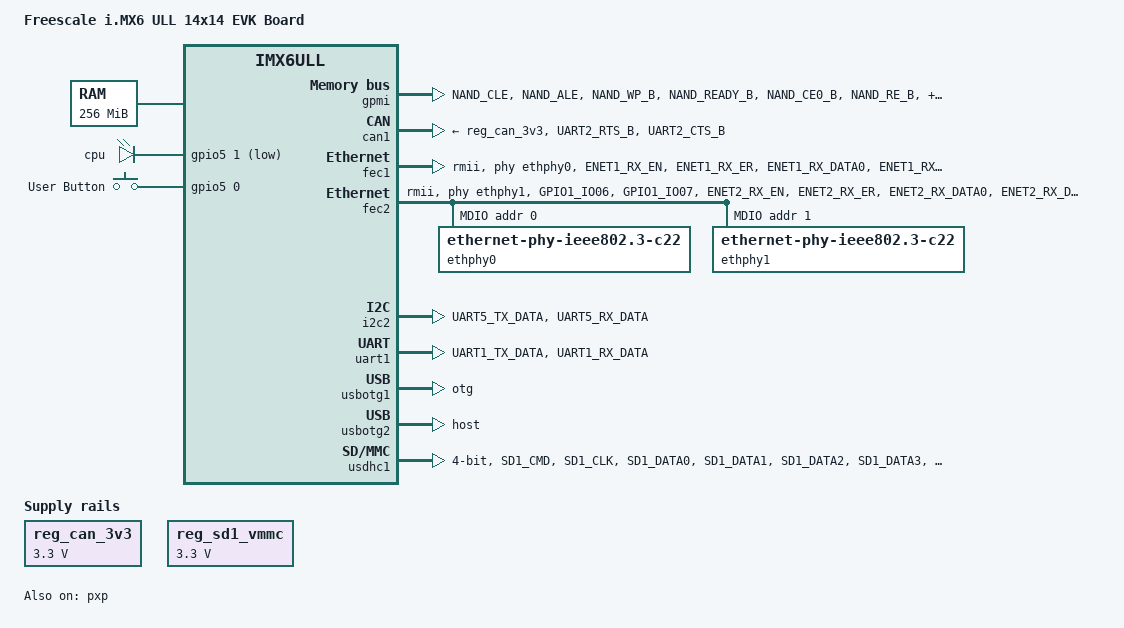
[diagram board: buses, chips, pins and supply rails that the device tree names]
/*
 * Copyright (C) 2016 Freescale Semiconductor, Inc.
 *
 * This program is free software; you can redistribute it and/or modify
 * it under the terms of the GNU General Public License version 2 as
 * published by the Free Software Foundation.
 */

/dts-v1/;

#include <dt-bindings/input/input.h>
#include "imx6ull.dtsi"

/ {
	model = "Freescale i.MX6 ULL 14x14 EVK Board";
	compatible = "fsl,imx6ull-14x14-evk", "fsl,imx6ull";

	chosen {
		stdout-path = &uart1;
	};

	memory {
		reg = <0x80000000 0x10000000>;
	};

	reserved-memory {
		#address-cells = <1>;
		#size-cells = <1>;
		ranges;

		linux,cma {
			compatible = "shared-dma-pool";
			reusable;
			size = <0x14000000>;
			linux,cma-default;
		};
	};

#if 0
	reg_brcm: regulator-brcm {
		compatible = "regulator-fixed";
		enable-active-high;
		gpio = <&gpio4 28 GPIO_ACTIVE_HIGH>;
		pinctrl-names = "default";
		pinctrl-0 = <&pinctrl_brcm_reg>;
		regulator-name = "brcm_reg";
		regulator-min-microvolt = <3300000>;
		regulator-max-microvolt = <3300000>;
		startup-delay-us = <200000>;
	};
#endif
#if 0
    //WiFi REG ON Gpio

	usdhc2_pwrseq: usdhc2_pwrseq {
		compatible = "mmc-pwrseq-simple";
		reset-gpios = <&gpio4 28 GPIO_ACTIVE_LOW>; 	/* WL_REG_ON */
                      //<&gpio4 14 GPIO_ACTIVE_LOW>, 	// WL_Wake Host
                      //<&gpio4 16 GPIO_ACTIVE_LOW>, 	// BT_REG_ON
                      //<&gpio4 26 GPIO_ACTIVE_LOW>,	// Host Wake BT
                      //<&gpio4 27 GPIO_ACTIVE_LOW>, 	// BT WAKE Host
                      //<&gpio4 6 GPIO_ACTIVE_LOW>; 	// BT_RST_N

        pinctrl-names = "default";
        pinctrl-0 = <&pinctrl_wifi>; //ToDo: Pullup check !
	};
	backlight {
		compatible = "pwm-backlight";
		pwms = <&pwm1 0 5000000>;
		brightness-levels = <0 4 8 16 32 64 128 255>;
		default-brightness-level = <6>;
		status = "disabled";
	};
#endif

	pxp_v4l2 {
		compatible = "fsl,imx6ul-pxp-v4l2", "fsl,imx6sx-pxp-v4l2", "fsl,imx6sl-pxp-v4l2";
		status = "okay";
	};

	regulators {
		compatible = "simple-bus";
		#address-cells = <1>;
		#size-cells = <0>;

		reg_can_3v3: regulator@0 {
			compatible = "regulator-fixed";
			reg = <0>;
			regulator-name = "can-3v3";
			regulator-min-microvolt = <3300000>;
			regulator-max-microvolt = <3300000>;
		};

		reg_sd1_vmmc: regulator@1 {
			compatible = "regulator-fixed";
			regulator-name = "VSD_3V3";
			regulator-min-microvolt = <3300000>;
			regulator-max-microvolt = <3300000>;
			//gpio = <&gpio1 9 GPIO_ACTIVE_HIGH>;
			enable-active-high;
		};

	};

	leds {
		compatible = "gpio-leds";
		pinctrl-names = "default";
		pinctrl-0 = <&pinctrl_leds>;

		led0: cpu {
			label = "cpu";
			gpios = <&gpio5 1 GPIO_ACTIVE_LOW>;
			default-state = "on";
			linux,default-trigger = "heartbeat";
		};
	};

	gpio-keys {
		compatible = "gpio-keys";
		pinctrl-names = "default";
		pinctrl-0 = <&pinctrl_gpio_key>;

		user {
			label = "User Button";
			gpios = <&gpio5 0 GPIO_ACTIVE_HIGH>;
			gpio-key,wakeup;
			linux,code = <KEY_1>;
		};
	};
};

&gpmi{
    status = "disabled";
};
&cpu0 {
	arm-supply = <&reg_arm>;
	soc-supply = <&reg_soc>;
	/*dc-supply = <&reg_gpio_dvfs>;*/
};

&clks {
	assigned-clocks = <&clks IMX6UL_CLK_PLL4_AUDIO_DIV>;
	assigned-clock-rates = <786432000>;
};

//&flexcan1 {
&can1 {
	pinctrl-names = "default";
	pinctrl-0 = <&pinctrl_flexcan1>;
	xceiver-supply = <&reg_can_3v3>;
	status = "okay";
};


&fec1 {
    pinctrl-names = "default";
    pinctrl-0 = <&pinctrl_enet1>;
    phy-mode = "rmii";
    phy-handle = <&ethphy0>;
    phy-reset-gpios = <&gpio5 9 GPIO_ACTIVE_LOW>;
    phy-reset-duration = <26>;
    status = "okay";
};

&fec2 {
    pinctrl-names = "default";
    pinctrl-0 = <&pinctrl_enet2>;
    phy-mode = "rmii";
    phy-handle = <&ethphy1>;
    phy-reset-gpios = <&gpio5 6 GPIO_ACTIVE_LOW>;
    phy-reset-duration = <26>;
    status = "okay";

    mdio {
        #address-cells = <1>;
        #size-cells = <0>;

        ethphy0: ethernet-phy@0 {
            compatible = "ethernet-phy-ieee802.3-c22";
            smsc,disable-energy-detect;
            reg = <0>;
            //max-speed = <50>;

        };
        ethphy1: ethernet-phy@1 {
            compatible = "ethernet-phy-ieee802.3-c22";
            smsc,disable-energy-detect;
            //max-speed = <50>;
            reg = <1>;
        };
    };
};

&gpc {
	fsl,cpu_pupscr_sw2iso = <0x1>;
	fsl,cpu_pupscr_sw = <0x0>;
	fsl,cpu_pdnscr_iso2sw = <0x1>;
	fsl,cpu_pdnscr_iso = <0x1>;
	fsl,ldo-bypass = <0>; /* DCDC, ldo-enable */
};

&i2c2 {
	clock_frequency = <100000>;
	pinctrl-names = "default";
	pinctrl-0 = <&pinctrl_i2c2>;
	status = "okay";

};

&iomuxc {
	pinctrl-names = "default";
	pinctrl-0 = <&pinctrl_hog_1>;
	imx6ul-evk {
        pinctrl_hog_2: hoggrp-2 {
            fsl,pins = <
                MX6ULL_PAD_SNVS_TAMPER6__GPIO5_IO06	0x1b0b0
            >;
        };

        pinctrl_uart6: uart6grp {
            fsl,pins = <
                MX6UL_PAD_CSI_MCLK__UART6_DCE_TX      0x1b0b1
                MX6UL_PAD_CSI_PIXCLK__UART6_DCE_RX    0x1b0b1
            >;
        };
		pinctrl_gpio_key: keygrp {
			fsl,pins = <
				MX6UL_PAD_SNVS_TAMPER0__GPIO5_IO00	0x1b0b0
			>;
		};
		pinctrl_leds: ledgrp {
			fsl,pins = <
				MX6UL_PAD_SNVS_TAMPER1__GPIO5_IO01	0x1b0b0
			>;
		};
        //For AP6212 from MYC HMI
		pinctrl_usdhc2_alt: usdhc2grp_alt {
			fsl,pins = <
				MX6UL_PAD_LCD_DATA18__USDHC2_CMD    0x17051
                //Ref imx6ul-pico-hobbit.dts
				//MX6UL_PAD_LCD_DATA19__USDHC2_CLK    0x10059
				MX6UL_PAD_LCD_DATA19__USDHC2_CLK    0x17051
				MX6UL_PAD_LCD_DATA20__USDHC2_DATA0  0x17051
				MX6UL_PAD_LCD_DATA21__USDHC2_DATA1  0x17051
				MX6UL_PAD_LCD_DATA22__USDHC2_DATA2  0x17051
				MX6UL_PAD_LCD_DATA23__USDHC2_DATA3  0x17051
			>;
		};

		pinctrl_hog_1: hoggrp-1 {
			fsl,pins = <
				MX6UL_PAD_UART1_RTS_B__GPIO1_IO19	0x17059 /* SD1 CD */
			//	MX6UL_PAD_GPIO1_IO05__USDHC1_VSELECT	0x17059 /* SD1 VSELECT */
				MX6UL_PAD_GPIO1_IO00__ANATOP_OTG1_ID	0x17059 /* USB OTG1 ID */

				MX6UL_PAD_SNVS_TAMPER9__GPIO5_IO09	0x1b0b0 /* enet1 reset */
				MX6UL_PAD_SNVS_TAMPER6__GPIO5_IO06	0x1b0b0 /* enet2 reset */
			>;
		};
		pinctrl_gpmi_nand_1: gpmi-nand-1 {
			fsl,pins = <
				MX6UL_PAD_NAND_CLE__RAWNAND_CLE         0xb0b1
				MX6UL_PAD_NAND_ALE__RAWNAND_ALE         0xb0b1
				MX6UL_PAD_NAND_WP_B__RAWNAND_WP_B       0xb0b1
				MX6UL_PAD_NAND_READY_B__RAWNAND_READY_B 0xb000
				MX6UL_PAD_NAND_CE0_B__RAWNAND_CE0_B     0xb0b1
				MX6UL_PAD_NAND_RE_B__RAWNAND_RE_B       0xb0b1
				MX6UL_PAD_NAND_WE_B__RAWNAND_WE_B       0xb0b1
				MX6UL_PAD_NAND_DATA00__RAWNAND_DATA00   0xb0b1
				MX6UL_PAD_NAND_DATA01__RAWNAND_DATA01   0xb0b1
				MX6UL_PAD_NAND_DATA02__RAWNAND_DATA02   0xb0b1
				MX6UL_PAD_NAND_DATA03__RAWNAND_DATA03   0xb0b1
				MX6UL_PAD_NAND_DATA04__RAWNAND_DATA04   0xb0b1
				MX6UL_PAD_NAND_DATA05__RAWNAND_DATA05   0xb0b1
				MX6UL_PAD_NAND_DATA06__RAWNAND_DATA06   0xb0b1
				MX6UL_PAD_NAND_DATA07__RAWNAND_DATA07   0xb0b1
			>;
		};

        pinctrl_enet1: enet1grp {
            fsl,pins = <
                //MX6UL_PAD_GPIO1_IO06__ENET1_MDIO	0x1b0b0
                //MX6UL_PAD_GPIO1_IO07__ENET1_MDC		0x1b0b0
                MX6UL_PAD_ENET1_RX_EN__ENET1_RX_EN  0x1b0b0
                MX6UL_PAD_ENET1_RX_ER__ENET1_RX_ER  0x1b0b0
                MX6UL_PAD_ENET1_RX_DATA0__ENET1_RDATA00 0x1b0b0
                MX6UL_PAD_ENET1_RX_DATA1__ENET1_RDATA01 0x1b0b0
                MX6UL_PAD_ENET1_TX_EN__ENET1_TX_EN  0x1b0b0
                MX6UL_PAD_ENET1_TX_DATA0__ENET1_TDATA00 0x1b0b0
                MX6UL_PAD_ENET1_TX_DATA1__ENET1_TDATA01 0x1b0b0
                MX6UL_PAD_ENET1_TX_CLK__ENET1_REF_CLK1  0x4001b031
            >;
        };

        pinctrl_enet2: enet2grp {
            fsl,pins = <
                MX6UL_PAD_GPIO1_IO06__ENET2_MDIO    0x1b0b0
                MX6UL_PAD_GPIO1_IO07__ENET2_MDC     0x1b0b0
                MX6UL_PAD_ENET2_RX_EN__ENET2_RX_EN  0x1b0b0
                MX6UL_PAD_ENET2_RX_ER__ENET2_RX_ER  0x1b0b0
                MX6UL_PAD_ENET2_RX_DATA0__ENET2_RDATA00 0x1b0b0
                MX6UL_PAD_ENET2_RX_DATA1__ENET2_RDATA01 0x1b0b0
                MX6UL_PAD_ENET2_TX_EN__ENET2_TX_EN  0x1b0b0
                MX6UL_PAD_ENET2_TX_DATA0__ENET2_TDATA00 0x1b0b0
                MX6UL_PAD_ENET2_TX_DATA1__ENET2_TDATA01 0x1b0b0
                MX6UL_PAD_ENET2_TX_CLK__ENET2_REF_CLK2  0x4001b031
            >;
        };

        /*
		pinctrl_enet1: enet1grp {
			fsl,pins = <
				MX6UL_PAD_GPIO1_IO06__ENET1_MDIO	0x1b0b0
				MX6UL_PAD_GPIO1_IO07__ENET1_MDC		0x1b0b0
				MX6UL_PAD_ENET1_RX_EN__ENET1_RX_EN	0x1b0b0
				MX6UL_PAD_ENET1_RX_ER__ENET1_RX_ER	0x1b0b0
				MX6UL_PAD_ENET1_RX_DATA0__ENET1_RDATA00	0x1b0b0
				MX6UL_PAD_ENET1_RX_DATA1__ENET1_RDATA01	0x1b0b0
				MX6UL_PAD_ENET1_TX_EN__ENET1_TX_EN	0x1b0b0
				MX6UL_PAD_ENET1_TX_DATA0__ENET1_TDATA00	0x1b0b0
				MX6UL_PAD_ENET1_TX_DATA1__ENET1_TDATA01	0x1b0b0
				MX6UL_PAD_ENET1_TX_CLK__ENET1_REF_CLK1	0x4001b031
			>;
		};

		pinctrl_enet2: enet2grp {
			fsl,pins = <
				MX6UL_PAD_GPIO1_IO06__ENET2_MDIO	0x1b0b0
				MX6UL_PAD_GPIO1_IO07__ENET2_MDC		0x1b0b0
				MX6UL_PAD_ENET2_RX_EN__ENET2_RX_EN	0x1b0b0
				MX6UL_PAD_ENET2_RX_ER__ENET2_RX_ER	0x1b0b0
				MX6UL_PAD_ENET2_RX_DATA0__ENET2_RDATA00	0x1b0b0
				MX6UL_PAD_ENET2_RX_DATA1__ENET2_RDATA01	0x1b0b0
				MX6UL_PAD_ENET2_TX_EN__ENET2_TX_EN	0x1b0b0
				MX6UL_PAD_ENET2_TX_DATA0__ENET2_TDATA00	0x1b0b0
				MX6UL_PAD_ENET2_TX_DATA1__ENET2_TDATA01	0x1b0b0
				MX6UL_PAD_ENET2_TX_CLK__ENET2_REF_CLK2	0x4001b031
			>;
		};
        */
		pinctrl_flexcan1: flexcan1grp{
			fsl,pins = <
				MX6UL_PAD_UART2_RTS_B__FLEXCAN2_RX	0x1b020
				MX6UL_PAD_UART2_CTS_B__FLEXCAN2_TX	0x1b020
			>;
		};

		pinctrl_flexcan2: flexcan2grp{
			fsl,pins = <
				MX6UL_PAD_UART2_RTS_B__FLEXCAN2_RX	0x1b020
				MX6UL_PAD_UART2_CTS_B__FLEXCAN2_TX	0x1b020
			>;
		};

		pinctrl_i2c2: i2c2grp {
			fsl,pins = <
				MX6UL_PAD_UART5_TX_DATA__I2C2_SCL 0x4001b8b0
				MX6UL_PAD_UART5_RX_DATA__I2C2_SDA 0x4001b8b0
			>;
		};

		pinctrl_lcdif_dat: lcdifdatgrp {
			fsl,pins = <
				MX6UL_PAD_LCD_DATA00__LCDIF_DATA00  0x79
				MX6UL_PAD_LCD_DATA01__LCDIF_DATA01  0x79
				MX6UL_PAD_LCD_DATA02__LCDIF_DATA02  0x79
				MX6UL_PAD_LCD_DATA03__LCDIF_DATA03  0x79
				MX6UL_PAD_LCD_DATA04__LCDIF_DATA04  0x79
				MX6UL_PAD_LCD_DATA05__LCDIF_DATA05  0x79
				MX6UL_PAD_LCD_DATA06__LCDIF_DATA06  0x79
				MX6UL_PAD_LCD_DATA07__LCDIF_DATA07  0x79
				MX6UL_PAD_LCD_DATA08__LCDIF_DATA08  0x79
				MX6UL_PAD_LCD_DATA09__LCDIF_DATA09  0x79
				MX6UL_PAD_LCD_DATA10__LCDIF_DATA10  0x79
				MX6UL_PAD_LCD_DATA11__LCDIF_DATA11  0x79
				MX6UL_PAD_LCD_DATA12__LCDIF_DATA12  0x79
				MX6UL_PAD_LCD_DATA13__LCDIF_DATA13  0x79
				MX6UL_PAD_LCD_DATA14__LCDIF_DATA14  0x79
				MX6UL_PAD_LCD_DATA15__LCDIF_DATA15  0x79
			>;
		};

		pinctrl_lcdif_ctrl: lcdifctrlgrp {
			fsl,pins = <
				MX6UL_PAD_LCD_CLK__LCDIF_CLK	    0x79
				MX6UL_PAD_LCD_ENABLE__LCDIF_ENABLE  0x79
				MX6UL_PAD_LCD_HSYNC__LCDIF_HSYNC    0x79
				MX6UL_PAD_LCD_VSYNC__LCDIF_VSYNC    0x79
			>;
		};

		pinctrl_pwm1: pwm1grp {
			fsl,pins = <
				MX6UL_PAD_GPIO1_IO08__PWM1_OUT   0x110b0
			>;
		};

        //PWM6:PWM1
		pinctrl_pwm6: pwm6grp {
			fsl,pins = <
                MX6UL_PAD_JTAG_TCK__PWM7_OUT 0x110b0
			>;
		};
        //PWM2
		pinctrl_pwm7: pwm7grp {
			fsl,pins = <
                MX6UL_PAD_JTAG_TDI__PWM6_OUT 0x110b0
			>;
		};

		pinctrl_qspi: qspigrp {
			fsl,pins = <
				MX6UL_PAD_NAND_WP_B__QSPI_A_SCLK      0x70a1
				MX6UL_PAD_NAND_READY_B__QSPI_A_DATA00 0x70a1
				MX6UL_PAD_NAND_CE0_B__QSPI_A_DATA01   0x70a1
				MX6UL_PAD_NAND_CE1_B__QSPI_A_DATA02   0x70a1
				MX6UL_PAD_NAND_CLE__QSPI_A_DATA03     0x70a1
				MX6UL_PAD_NAND_DQS__QSPI_A_SS0_B      0x70a1
			>;
		};

		pinctrl_sai2: sai2grp {
			fsl,pins = <
				MX6UL_PAD_JTAG_TDI__SAI2_TX_BCLK	0x17088
				MX6UL_PAD_JTAG_TDO__SAI2_TX_SYNC	0x17088
				MX6UL_PAD_JTAG_TRST_B__SAI2_TX_DATA	0x11088
				MX6UL_PAD_JTAG_TCK__SAI2_RX_DATA	0x11088
				MX6UL_PAD_JTAG_TMS__SAI2_MCLK		0x17088
			>;
		};

		pinctrl_tsc: tscgrp {
			fsl,pins = <
				MX6UL_PAD_GPIO1_IO01__GPIO1_IO01	0xb0
				MX6UL_PAD_GPIO1_IO02__GPIO1_IO02	0xb0
				MX6UL_PAD_GPIO1_IO03__GPIO1_IO03	0xb0
				MX6UL_PAD_GPIO1_IO04__GPIO1_IO04	0xb0
			>;
		};

		pinctrl_uart1: uart1grp {
			fsl,pins = <
				MX6UL_PAD_UART1_TX_DATA__UART1_DCE_TX 0x1b0b1
				MX6UL_PAD_UART1_RX_DATA__UART1_DCE_RX 0x1b0b1
			>;
		};

		pinctrl_uart2: uart2grp {
			fsl,pins = <
				MX6UL_PAD_UART2_TX_DATA__UART2_DCE_TX	0x1b0b1
				MX6UL_PAD_UART2_RX_DATA__UART2_DCE_RX	0x1b0b1
                MX6UL_PAD_UART1_CTS_B__GPIO1_IO18 0x17059 //0x1b0b1
			>;
		};
        pinctrl_485_1_ctl: uart2_rs485_1 {
            fsl,pins = <
                // Ref: arch/arm/boot/dts/imx6ul-pinfunc.h
                //MX6ULL_PAD_SNVS_TAMPER0__GPIO5_IO00     0x1b0b0
                //MX6UL_PAD_UART1_CTS_B__UART1_DCE_CTS 0x1b0b0
                MX6UL_PAD_UART1_CTS_B__GPIO1_IO18 0x17059 //0x1b0b1
            >;
        };

        //For AP6212
		pinctrl_uart5dte: uart5dtegrp {
			fsl,pins = <
				//MX6UL_PAD_UART2_TX_DATA__UART2_DTE_RX	0x1b0b1
                MX6UL_PAD_CSI_DATA00__UART5_DCE_TX 0x1b0b1
				//MX6UL_PAD_UART2_RX_DATA__UART2_DTE_TX	0x1b0b1
                MX6UL_PAD_CSI_DATA01__UART5_DCE_RX 0x1b0b1
				//MX6UL_PAD_UART3_RX_DATA__UART2_DTE_CTS	0x1b0b1
                MX6UL_PAD_CSI_DATA03__UART5_DCE_CTS 0x1b0b1
				//MX6UL_PAD_UART3_TX_DATA__UART2_DTE_RTS	0x1b0b1
                MX6UL_PAD_CSI_DATA02__UART5_DCE_RTS 0x1b0b1
			>;
		};

		pinctrl_uart2dte: uart2dtegrp {
			fsl,pins = <
				MX6UL_PAD_UART2_TX_DATA__UART2_DTE_RX	0x1b0b1
				MX6UL_PAD_UART2_RX_DATA__UART2_DTE_TX	0x1b0b1
				MX6UL_PAD_UART3_RX_DATA__UART2_DTE_CTS	0x1b0b1
				MX6UL_PAD_UART3_TX_DATA__UART2_DTE_RTS	0x1b0b1
			>;
		};

        pinctrl_uart3: uart3grp {
            fsl,pins = <
                MX6UL_PAD_UART3_TX_DATA__UART3_DCE_TX   0x1b0b1
                MX6UL_PAD_UART3_RX_DATA__UART3_DCE_RX   0x1b0b1
                MX6UL_PAD_UART3_RTS_B__GPIO1_IO27 0x17059//0x1b0b1
            >;
        };

        pinctrl_485_2_ctl: uart3_rs485_2 {
            fsl,pins = <
                // Ref: arch/arm/boot/dts/imx6ul-pinfunc.h
                //MX6ULL_PAD_SNVS_TAMPER0__GPIO5_IO00     0x1b0b0
                //MX6UL_PAD_UART3_RTS_B__UART3_DCE_RTS 0x1b0b0
                MX6UL_PAD_UART3_RTS_B__GPIO1_IO27 0x17059//0x1b0b1
            >;
        };

        pinctrl_uart4: uart4grp {
            fsl,pins = <
                MX6UL_PAD_UART4_TX_DATA__UART4_DCE_TX   0x1b0b1
                MX6UL_PAD_UART4_RX_DATA__UART4_DCE_RX   0x1b0b1
            >;
        };

        pinctrl_uart7: uart7grp {
            fsl,pins = <
                MX6UL_PAD_LCD_DATA16__UART7_DCE_TX   0x1b0b1
                MX6UL_PAD_LCD_DATA17__UART7_DCE_RX   0x1b0b1
            >;
        };

		pinctrl_usdhc1: usdhc1grp {
			fsl,pins = <
				MX6UL_PAD_SD1_CMD__USDHC1_CMD     0x17059
				MX6UL_PAD_SD1_CLK__USDHC1_CLK     0x10071
				MX6UL_PAD_SD1_DATA0__USDHC1_DATA0 0x17059
				MX6UL_PAD_SD1_DATA1__USDHC1_DATA1 0x17059
				MX6UL_PAD_SD1_DATA2__USDHC1_DATA2 0x17059
				MX6UL_PAD_SD1_DATA3__USDHC1_DATA3 0x17059
			>;
		};

		pinctrl_usdhc1_100mhz: usdhc1grp100mhz {
			fsl,pins = <
				MX6UL_PAD_SD1_CMD__USDHC1_CMD     0x170b9
				MX6UL_PAD_SD1_CLK__USDHC1_CLK     0x100b9
				MX6UL_PAD_SD1_DATA0__USDHC1_DATA0 0x170b9
				MX6UL_PAD_SD1_DATA1__USDHC1_DATA1 0x170b9
				MX6UL_PAD_SD1_DATA2__USDHC1_DATA2 0x170b9
				MX6UL_PAD_SD1_DATA3__USDHC1_DATA3 0x170b9
			>;
		};

		pinctrl_usdhc1_200mhz: usdhc1grp200mhz {
			fsl,pins = <
				MX6UL_PAD_SD1_CMD__USDHC1_CMD     0x170f9
				MX6UL_PAD_SD1_CLK__USDHC1_CLK     0x100f9
				MX6UL_PAD_SD1_DATA0__USDHC1_DATA0 0x170f9
				MX6UL_PAD_SD1_DATA1__USDHC1_DATA1 0x170f9
				MX6UL_PAD_SD1_DATA2__USDHC1_DATA2 0x170f9
				MX6UL_PAD_SD1_DATA3__USDHC1_DATA3 0x170f9
			>;
		};

		pinctrl_usdhc2: usdhc2grp {
			fsl,pins = <
				MX6UL_PAD_NAND_RE_B__USDHC2_CLK     0x10069
				MX6UL_PAD_NAND_WE_B__USDHC2_CMD     0x17059
				MX6UL_PAD_NAND_DATA00__USDHC2_DATA0 0x17059
				MX6UL_PAD_NAND_DATA01__USDHC2_DATA1 0x17059
				MX6UL_PAD_NAND_DATA02__USDHC2_DATA2 0x17059
				MX6UL_PAD_NAND_DATA03__USDHC2_DATA3 0x17059
			>;
		};

		pinctrl_usdhc2_8bit: usdhc2grp_8bit {
			fsl,pins = <
				MX6UL_PAD_NAND_RE_B__USDHC2_CLK     0x10069
				MX6UL_PAD_NAND_WE_B__USDHC2_CMD     0x17059
				MX6UL_PAD_NAND_DATA00__USDHC2_DATA0 0x17059
				MX6UL_PAD_NAND_DATA01__USDHC2_DATA1 0x17059
				MX6UL_PAD_NAND_DATA02__USDHC2_DATA2 0x17059
				MX6UL_PAD_NAND_DATA03__USDHC2_DATA3 0x17059
				MX6UL_PAD_NAND_DATA04__USDHC2_DATA4 0x17059
				MX6UL_PAD_NAND_DATA05__USDHC2_DATA5 0x17059
				MX6UL_PAD_NAND_DATA06__USDHC2_DATA6 0x17059
				MX6UL_PAD_NAND_DATA07__USDHC2_DATA7 0x17059
			>;
		};

		pinctrl_usdhc2_8bit_100mhz: usdhc2grp_8bit_100mhz {
			fsl,pins = <
				MX6UL_PAD_NAND_RE_B__USDHC2_CLK     0x100b9
				MX6UL_PAD_NAND_WE_B__USDHC2_CMD     0x170b9
				MX6UL_PAD_NAND_DATA00__USDHC2_DATA0 0x170b9
				MX6UL_PAD_NAND_DATA01__USDHC2_DATA1 0x170b9
				MX6UL_PAD_NAND_DATA02__USDHC2_DATA2 0x170b9
				MX6UL_PAD_NAND_DATA03__USDHC2_DATA3 0x170b9
				MX6UL_PAD_NAND_DATA04__USDHC2_DATA4 0x170b9
				MX6UL_PAD_NAND_DATA05__USDHC2_DATA5 0x170b9
				MX6UL_PAD_NAND_DATA06__USDHC2_DATA6 0x170b9
				MX6UL_PAD_NAND_DATA07__USDHC2_DATA7 0x170b9
			>;
		};

		pinctrl_usdhc2_8bit_200mhz: usdhc2grp_8bit_200mhz {
			fsl,pins = <
				MX6UL_PAD_NAND_RE_B__USDHC2_CLK     0x100f9
				MX6UL_PAD_NAND_WE_B__USDHC2_CMD     0x170f9
				MX6UL_PAD_NAND_DATA00__USDHC2_DATA0 0x170f9
				MX6UL_PAD_NAND_DATA01__USDHC2_DATA1 0x170f9
				MX6UL_PAD_NAND_DATA02__USDHC2_DATA2 0x170f9
				MX6UL_PAD_NAND_DATA03__USDHC2_DATA3 0x170f9
				MX6UL_PAD_NAND_DATA04__USDHC2_DATA4 0x170f9
				MX6UL_PAD_NAND_DATA05__USDHC2_DATA5 0x170f9
				MX6UL_PAD_NAND_DATA06__USDHC2_DATA6 0x170f9
				MX6UL_PAD_NAND_DATA07__USDHC2_DATA7 0x170f9
			>;
		};

		pinctrl_wdog: wdoggrp {
			fsl,pins = <
				MX6UL_PAD_LCD_RESET__WDOG1_WDOG_ANY    0x30b0
			>;
		};
	};
};

&pwm1 {
	pinctrl-names = "default";
	pinctrl-0 = <&pinctrl_pwm1>;
	status = "disabled";
};

&pwm6 {
	pinctrl-names = "default";
	pinctrl-0 = <&pinctrl_pwm6>;
	status = "disabled";
};

&pwm7 {
	pinctrl-names = "default";
	pinctrl-0 = <&pinctrl_pwm7>;
	status = "disabled";
};

&pxp {
	status = "okay";
};

&qspi {
	status = "disabled";
};

&uart1 {
	pinctrl-names = "default";
	pinctrl-0 = <&pinctrl_uart1>;
	status = "okay";
};

//485-1
&uart3 {
    pinctrl-names = "default";
    //pinctrl-0 = <&pinctrl_uart3 &pinctrl_485_2_ctl>;
    pinctrl-0 = <&pinctrl_uart3>;
    //HeXiongjun:
    //  4.9.88 have no rs485-gpio-txen now, use following and set the 485 flag will auto handle the RTS/Pin
    //  gvimdiff driver/tty/serial/imx.c VS MYIR-iMX-Linux/driver/tty/serial/imx.c VS MYIR-iMX-Linux/
    fsl,rs485-gpio-txen = <&gpio1 27 GPIO_ACTIVE_HIGH>;

    rts-gpio = <&gpio1 27 GPIO_ACTIVE_LOW>;
    //rs485-rts-active-high;
    uart-has-rtscts;

    rs485-rx-during-tx;
    rs485-rts-delay = <100 100>;
    linux,rs485-enabled-at-boot-time;
    status = "disabled";
};

//485-2
&uart2 {
	pinctrl-names = "default";
	pinctrl-0 = <&pinctrl_uart2>;

    //pinctrl-0 = <&pinctrl_uart2 &pinctrl_485_1_ctl>;
    uart-has-rtscts;
    //pinctrl-0 = <&pinctrl_uart3>;
    //fsl,rs485-gpio-txen = <&gpio5 0 GPIO_ACTIVE_HIGH>;
    //rts-gpio = <&gpio5 0 GPIO_ACTIVE_HIGH>;
    fsl,rs485-gpio-txen = <&gpio1 18 GPIO_ACTIVE_HIGH>;

    //HeXiongjun:
    //  4.9.88 have no rs485-gpio-txen now, use following and set the 485 flag will auto handle the RTS/Pin
    //  gvimdiff driver/tty/serial/imx.c VS MYIR-iMX-Linux/driver/tty/serial/imx.c VS MYIR-iMX-Linux/
    rts-gpio = <&gpio1 18 GPIO_ACTIVE_LOW>;
    //rs485-rts-active-high;

    rs485-rx-during-tx;
    rs485-rts-delay = <100 100>;
    linux,rs485-enabled-at-boot-time;
	status = "disabled";
};

&usbotg1 {
	//dr_mode = "peripheral";
	dr_mode = "otg";
	srp-disable;
	hnp-disable;
	adp-disable;
	status = "okay";
};

&usbotg2 {
	dr_mode = "host";
	disable-over-current;
	status = "okay";
};

&usbphy1 {
	tx-d-cal = <0x5>;
};

&usbphy2 {
	tx-d-cal = <0x5>;
};
&gpmi {
	pinctrl-names = "default";
	pinctrl-0 = <&pinctrl_gpmi_nand_1>;
	status = "okay";
	nand-on-flash-bbt;
};

&usdhc1 {
	pinctrl-names = "default";
	pinctrl-0 = <&pinctrl_usdhc1>;
	cd-gpios = <&gpio1 19 GPIO_ACTIVE_LOW>;
	keep-power-in-suspend;
	enable-sdio-wakeup;
	bus-width = <4>;
	status = "okay";
};

&wdog1 {
	pinctrl-names = "default";
	pinctrl-0 = <&pinctrl_wdog>;
	fsl,wdog_b;
};

//232-1
&uart4 {
    pinctrl-names = "default";
    pinctrl-0 = <&pinctrl_uart4>;
    status = "disabled";
};

//232-2
&uart7 {
    pinctrl-names = "default";
    pinctrl-0 = <&pinctrl_uart7>;
    status = "disabled";
};

&uart6 {
    pinctrl-names = "default";
    pinctrl-0 = <&pinctrl_uart6>;
    status = "disabled";
};

//For AP6212
&uart5 {
	pinctrl-names = "default";
	pinctrl-0 = <&pinctrl_uart5dte>;
	fsl,uart-has-rtscts;
	status = "disabled";
};
